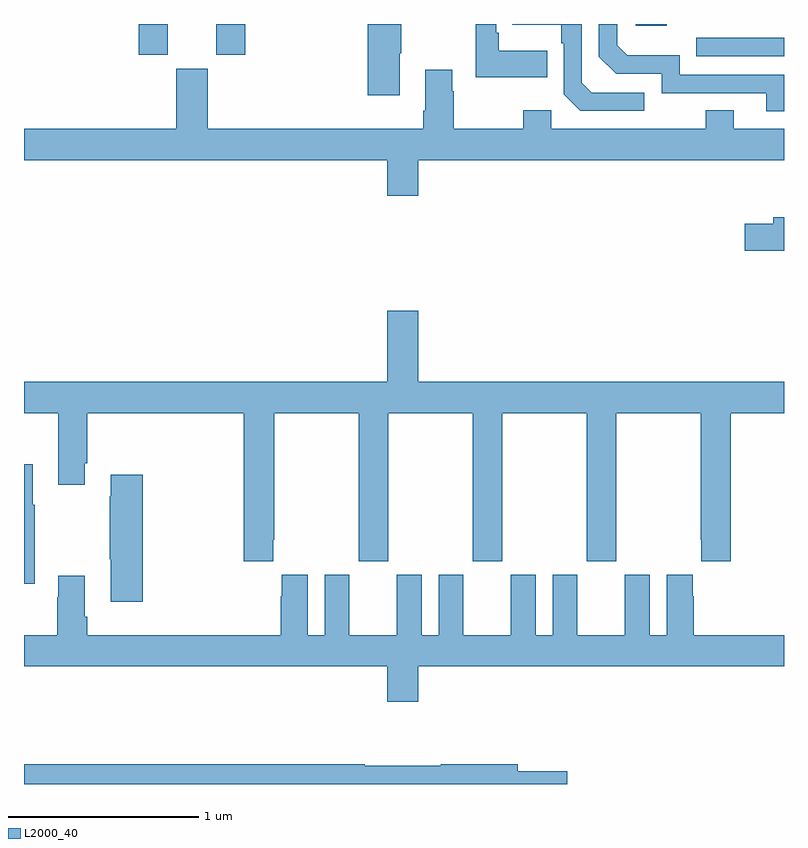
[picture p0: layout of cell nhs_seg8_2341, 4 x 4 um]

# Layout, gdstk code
import gdstk
lib = gdstk.Library(unit=1e-6, precision=1e-09)
def R(c, l, rs):  # rectangles x0, y0, x1, y1
    for r in rs: c.add(gdstk.rectangle(r[:2], r[2:], *l))
def P(c, l, *ps):  # polygons
    for p in ps: c.add(gdstk.Polygon(p, *l))
L2000_40 = (2000, 40)

nhs_seg8_2341 = lib.new_cell('nhs_seg8_2341')
R(nhs_seg8_2341, L2000_40, [(262.537,1099.731,263,1099.827), (259.604,1099.737,259.756,1099.9), (260.012,1099.737,260.165,1099.9), (262.221,1099.892,262.382,1099.9)])
P(nhs_seg8_2341, L2000_40, [(261.755,1099.759),(261.499,1099.759),(261.499,1099.855),(261.486,1099.855),(261.486,1099.9),(261.378,1099.9),(261.378,1099.619),(261.755,1099.619)],
  [(263,1099.632),(262.452,1099.632),(262.452,1099.735),(262.175,1099.735),(262.122,1099.788),(262.122,1099.9),(262.026,1099.9),(262.026,1099.728),(262.116,1099.638),(262.356,1099.638),(262.356,1099.536),(262.907,1099.536),(262.907,1099.44),(263,1099.44)],
  [(262.264,1099.539),(261.987,1099.539),(261.936,1099.59),(261.936,1099.9),(261.571,1099.9),(261.571,1099.895),(261.828,1099.895),(261.828,1099.799),(261.84,1099.799),(261.84,1099.53),(261.927,1099.443),(262.264,1099.443)],
  [(260.977,1099.747),(260.985,1099.747),(260.985,1099.9),(260.81,1099.9),(260.81,1099.524),(260.977,1099.524)],
  [(261.076,1099.184),(263,1099.184),(263,1099.348),(262.735,1099.348),(262.735,1099.447),(262.588,1099.447),(262.588,1099.348),(261.774,1099.348),(261.774,1099.447),(261.628,1099.447),(261.628,1099.348),(261.261,1099.348),(261.261,1099.547),(261.253,1099.547),(261.253,1099.66),(261.113,1099.66),(261.113,1099.444),(261.101,1099.444),(261.101,1099.348),(259.966,1099.348),(259.966,1099.665),(259.802,1099.665),(259.802,1099.348),(259,1099.348),(259,1099.184),(260.912,1099.184),(260.912,1098.996),(261.076,1098.996)],
  [(263,1098.883),(262.943,1098.883),(262.943,1098.849),(262.794,1098.849),(262.794,1098.707),(263,1098.707)],
  [(260.311,1097.185),(260.316,1097.185),(260.316,1097.852),(260.761,1097.852),(260.761,1097.073),(260.916,1097.073),(260.916,1097.852),(261.361,1097.852),(261.361,1097.073),(261.516,1097.073),(261.516,1097.852),(261.961,1097.852),(261.961,1097.073),(262.116,1097.073),(262.116,1097.852),(262.561,1097.852),(262.561,1097.185),(262.565,1097.185),(262.565,1097.073),(262.721,1097.073),(262.721,1097.852),(263,1097.852),(263,1098.016),(261.076,1098.016),(261.076,1098.391),(260.912,1098.391),(260.912,1098.016),(259,1098.016),(259,1097.852),(259.181,1097.852),(259.181,1097.475),(259.321,1097.475),(259.321,1097.587),(259.334,1097.587),(259.334,1097.852),(260.156,1097.852),(260.156,1097.073),(260.311,1097.073)],
  [(259.057,1097.371),(259.045,1097.371),(259.045,1097.584),(259,1097.584),(259,1096.955),(259.057,1096.955)],
  [(259.625,1097.527),(259.457,1097.527),(259.457,1097.414),(259.45,1097.414),(259.45,1097.083),(259.457,1097.083),(259.457,1096.86),(259.625,1096.86)],
  [(261.076,1096.52),(263,1096.52),(263,1096.684),(262.526,1096.684),(262.526,1096.889),(262.519,1096.889),(262.519,1097.002),(262.382,1097.002),(262.382,1096.684),(262.294,1096.684),(262.294,1097.002),(262.163,1097.002),(262.163,1096.684),(261.913,1096.684),(261.913,1097.002),(261.782,1097.002),(261.782,1096.684),(261.694,1096.684),(261.694,1097.002),(261.563,1097.002),(261.563,1096.684),(261.313,1096.684),(261.313,1097.002),(261.182,1097.002),(261.182,1096.684),(261.094,1096.684),(261.094,1097.002),(260.963,1097.002),(260.963,1096.684),(260.713,1096.684),(260.713,1097.002),(260.582,1097.002),(260.582,1096.684),(260.494,1096.684),(260.494,1097.002),(260.357,1097.002),(260.357,1096.889),(260.351,1096.889),(260.351,1096.684),(259.334,1096.684),(259.334,1096.78),(259.321,1096.78),(259.321,1096.996),(259.181,1096.996),(259.181,1096.883),(259.174,1096.883),(259.174,1096.684),(259,1096.684),(259,1096.52),(260.912,1096.52),(260.912,1096.332),(261.076,1096.332)],
  [(261.859,1095.968),(261.598,1095.968),(261.598,1096.004),(261.194,1096.004),(261.194,1095.997),(260.794,1095.997),(260.794,1096.004),(259,1096.004),(259,1095.9),(261.859,1095.9)])

lib.write_gds('nhs_seg8_2341.gds')
